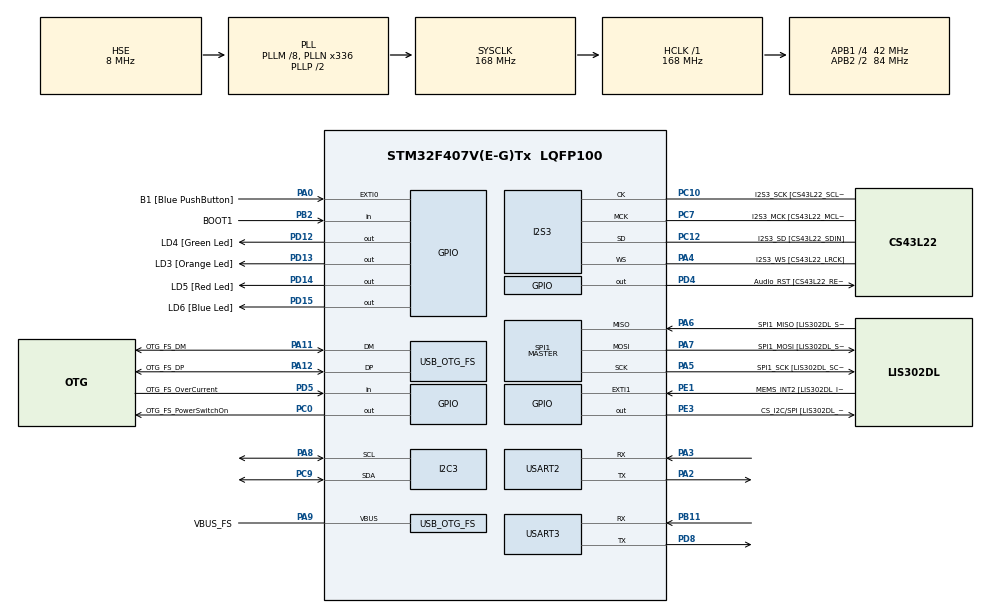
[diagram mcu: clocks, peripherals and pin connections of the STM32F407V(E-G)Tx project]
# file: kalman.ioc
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I2S3.AudioFreq-Half_Duplex_Master=I2S_AUDIOFREQ_96K
I2S3.ErrorAudioFreq=-2.34 %
I2S3.ErrorAudioFreq-Half_Duplex_Master=0.8 %
I2S3.FullDuplexMode=I2S_FULLDUPLEXMODE_DISABLE
I2S3.Instance=SPI$Index
I2S3.RealAudioFreq=93.75 KHz
I2S3.RealAudioFreq-Half_Duplex_Master=96.774 KHz
I2S3.VirtualMode=I2S_MODE_MASTER
Mcu.Family=STM32F4
Mcu.Name=STM32F407V(E-G)Tx
Mcu.Package=LQFP100
NVIC.I2C3_ER_IRQn=true\:0\:0\:false\:false\:true\:true\:true\:true
NVIC.I2C3_EV_IRQn=true\:0\:0\:false\:false\:true\:true\:true\:true
NVIC.OTG_FS_IRQn=true\:0\:0\:false\:false\:true\:true\:true\:true
NVIC.PriorityGroup=NVIC_PRIORITYGROUP_0
PA0-WKUP.GPIO_Label=B1 [Blue PushButton]
PA0-WKUP.GPIO_ModeDefaultEXTI=GPIO_MODE_EVT_RISING
PA0-WKUP.GPIO_PuPd=GPIO_NOPULL
PA0-WKUP.Signal=GPXTI0
PA10.GPIO_Label=OTG_FS_ID
PA10.GPIO_Mode=GPIO_MODE_AF_PP
PA10.GPIO_PuPd=GPIO_NOPULL
PA10.GPIO_Speed=GPIO_SPEED_FREQ_LOW
PA10.Signal=USB_OTG_FS_ID
PA11.GPIO_Label=OTG_FS_DM
PA11.GPIO_Mode=GPIO_MODE_AF_PP
PA11.GPIO_PuPd=GPIO_NOPULL
PA11.GPIO_Speed=GPIO_SPEED_FREQ_LOW
PA11.Mode=Host_Only
PA11.Signal=USB_OTG_FS_DM
PA12.GPIO_Label=OTG_FS_DP
PA12.GPIO_Mode=GPIO_MODE_AF_PP
PA12.GPIO_PuPd=GPIO_NOPULL
PA12.GPIO_Speed=GPIO_SPEED_FREQ_LOW
PA12.Mode=Host_Only
PA12.Signal=USB_OTG_FS_DP
PA13.GPIO_Label=SWDIO
PA13.Mode=Serial_Wire
PA13.Signal=SYS_JTMS-SWDIO
PA14.GPIO_Label=SWCLK
PA14.Mode=Serial_Wire
PA14.Signal=SYS_JTCK-SWCLK
PA2.Mode=Asynchronous
PA2.Signal=USART2_TX
PA3.Mode=Asynchronous
PA3.Signal=USART2_RX
PA4.GPIO_Label=I2S3_WS [CS43L22_LRCK]
PA4.GPIO_Mode=GPIO_MODE_AF_PP
PA4.GPIO_PuPd=GPIO_NOPULL
PA4.GPIO_Speed=GPIO_SPEED_FREQ_LOW
PA4.Mode=Half_Duplex_Master
PA4.Signal=I2S3_WS
PA5.GPIO_Label=SPI1_SCK [LIS302DL_SCL/SPC]
PA5.GPIO_Mode=GPIO_MODE_AF_PP
PA5.GPIO_PuPd=GPIO_NOPULL
PA5.GPIO_Speed=GPIO_SPEED_FREQ_LOW
PA5.Mode=Full_Duplex_Master
PA5.Signal=SPI1_SCK
PA6.GPIO_Label=SPI1_MISO [LIS302DL_SDO]
PA6.GPIO_Mode=GPIO_MODE_AF_PP
PA6.GPIO_PuPd=GPIO_NOPULL
PA6.GPIO_Speed=GPIO_SPEED_FREQ_LOW
PA6.Mode=Full_Duplex_Master
PA6.Signal=SPI1_MISO
PA7.GPIO_Label=SPI1_MOSI [LIS302DL_SDA/SDI/SDO]
PA7.GPIO_Mode=GPIO_MODE_AF_PP
PA7.GPIO_PuPd=GPIO_NOPULL
PA7.GPIO_Speed=GPIO_SPEED_FREQ_LOW
PA7.Mode=Full_Duplex_Master
PA7.Signal=SPI1_MOSI
PA8.Mode=I2C
PA8.Signal=I2C3_SCL
PA9.GPIO_Label=VBUS_FS
PA9.GPIO_Mode=GPIO_MODE_INPUT
PA9.GPIO_PuPd=GPIO_NOPULL
PA9.Mode=Activate_VBUS
PA9.Signal=USB_OTG_FS_VBUS
PB10.GPIO_Label=CLK_IN [MP45DT02_CLK]
PB10.GPIO_Mode=GPIO_MODE_AF_PP
PB10.GPIO_PuPd=GPIO_NOPULL
PB10.GPIO_Speed=GPIO_SPEED_FREQ_LOW
PB10.Signal=I2S2_CK
PB11.Mode=Asynchronous
PB11.Signal=USART3_RX
PB2.GPIO_Label=BOOT1
PB2.GPIO_Mode=GPIO_MODE_INPUT
PB2.GPIO_PuPd=GPIO_NOPULL
PB2.Signal=GPIO_Input
PB3.GPIO_Label=SWO
PB3.Signal=SYS_JTDO-SWO
PB6.GPIO_Label=Audio_SCL [CS43L22_SCL]
PB6.GPIO_Mode=GPIO_MODE_AF_OD
PB6.GPIO_Pu=GPIO_PULLUP
PB6.GPIO_PuPd=GPIO_NOPULL
PB6.GPIO_Speed=GPIO_SPEED_FREQ_LOW
PB6.Signal=I2C1_SCL
PB9.GPIO_Label=Audio_SDA [CS43L22_SDA]
PB9.GPIO_Mode=GPIO_MODE_AF_OD
PB9.GPIO_Pu=GPIO_PULLUP
PB9.GPIO_PuPd=GPIO_NOPULL
PB9.GPIO_Speed=GPIO_SPEED_FREQ_LOW
PB9.Signal=I2C1_SDA
PC0.GPIO_Label=OTG_FS_PowerSwitchOn
PC0.GPIO_PuPd=GPIO_NOPULL
PC0.GPIO_Speed=GPIO_SPEED_FREQ_LOW
PC0.PinState=GPIO_PIN_SET
PC0.Signal=GPIO_Output
PC10.GPIO_Label=I2S3_SCK [CS43L22_SCLK]
PC10.GPIO_Mode=GPIO_MODE_AF_PP
PC10.GPIO_PuPd=GPIO_NOPULL
PC10.GPIO_Speed=GPIO_SPEED_FREQ_LOW
PC10.Mode=Half_Duplex_Master
PC10.Signal=I2S3_CK
PC12.GPIO_Label=I2S3_SD [CS43L22_SDIN]
PC12.GPIO_Mode=GPIO_MODE_AF_PP
PC12.GPIO_PuPd=GPIO_NOPULL
PC12.GPIO_Speed=GPIO_SPEED_FREQ_LOW
PC12.Mode=Half_Duplex_Master
PC12.Signal=I2S3_SD
PC14-OSC32_IN.GPIO_Label=PC14-OSC32_IN
PC14-OSC32_IN.Mode=LSE-External-Oscillator
PC14-OSC32_IN.Signal=RCC_OSC32_IN
PC15-OSC32_OUT.GPIO_Label=PC15-OSC32_OUT
PC15-OSC32_OUT.Mode=LSE-External-Oscillator
PC15-OSC32_OUT.Signal=RCC_OSC32_OUT
PC3.GPIO_Label=PDM_OUT [MP45DT02_DOUT]
PC3.GPIO_Mode=GPIO_MODE_AF_PP
PC3.GPIO_PuPd=GPIO_NOPULL
PC3.GPIO_Speed=GPIO_SPEED_FREQ_LOW
PC3.Signal=I2S2_SD
PC7.GPIO_Label=I2S3_MCK [CS43L22_MCLK]
PC7.GPIO_Mode=GPIO_MODE_AF_PP
PC7.GPIO_PuPd=GPIO_NOPULL
PC7.GPIO_Speed=GPIO_SPEED_FREQ_LOW
PC7.Mode=Master_Clock_Activated
PC7.Signal=I2S3_MCK
PC9.Mode=I2C
PC9.Signal=I2C3_SDA
PD12.GPIO_Label=LD4 [Green Led]
PD12.GPIO_PuPd=GPIO_NOPULL
PD12.GPIO_Speed=GPIO_SPEED_FREQ_LOW
PD12.Signal=GPIO_Output
PD13.GPIO_Label=LD3 [Orange Led]
PD13.GPIO_PuPd=GPIO_NOPULL
PD13.GPIO_Speed=GPIO_SPEED_FREQ_LOW
PD13.Signal=GPIO_Output
PD14.GPIO_Label=LD5 [Red Led]
PD14.GPIO_PuPd=GPIO_NOPULL
PD14.GPIO_Speed=GPIO_SPEED_FREQ_LOW
PD14.Signal=GPIO_Output
PD15.GPIO_Label=LD6 [Blue Led]
PD15.GPIO_PuPd=GPIO_NOPULL
PD15.GPIO_Speed=GPIO_SPEED_FREQ_LOW
PD15.Signal=GPIO_Output
PD4.GPIO_Label=Audio_RST [CS43L22_RESET]
PD4.GPIO_PuPd=GPIO_NOPULL
PD4.GPIO_Speed=GPIO_SPEED_FREQ_LOW
PD4.Signal=GPIO_Output
PD5.GPIO_Label=OTG_FS_OverCurrent
PD5.GPIO_Mode=GPIO_MODE_INPUT
PD5.GPIO_PuPd=GPIO_NOPULL
PD5.Signal=GPIO_Input
PD8.Mode=Asynchronous
PD8.Signal=USART3_TX
PE1.GPIO_Label=MEMS_INT2 [LIS302DL_INT2]
PE1.GPIO_ModeDefaultEXTI=GPIO_MODE_EVT_RISING
PE1.GPIO_PuPd=GPIO_NOPULL
PE1.Signal=GPXTI1
PE3.GPIO_Label=CS_I2C/SPI [LIS302DL_CS_I2C/SPI]
PE3.GPIO_PuPd=GPIO_NOPULL
PE3.GPIO_Speed=GPIO_SPEED_FREQ_LOW
PE3.Signal=GPIO_Output
PH0-OSC_IN.GPIO_Label=PH0-OSC_IN
PH0-OSC_IN.Mode=HSE-External-Oscillator
PH0-OSC_IN.Signal=RCC_OSC_IN
PH1-OSC_OUT.GPIO_Label=PH1-OSC_OUT
PH1-OSC_OUT.Mode=HSE-External-Oscillator
PH1-OSC_OUT.Signal=RCC_OSC_OUT
ProjectManager.HeapSize=0x200
ProjectManager.StackSize=0x400
ProjectManager.TargetToolchain=STM32CubeIDE
RCC.48MHZClocksFreq_Value=48000000
RCC.AHBFreq_Value=168000000
RCC.APB1CLKDivider=RCC_HCLK_DIV4
RCC.APB1Freq_Value=42000000
RCC.APB1TimFreq_Value=84000000
RCC.APB2CLKDivider=RCC_HCLK_DIV2
RCC.APB2Freq_Value=84000000
RCC.APB2TimFreq_Value=168000000
RCC.CortexFreq_Value=168000000
RCC.HCLKFreq_Value=168000000
RCC.HSE_VALUE=8000000
RCC.HSI_VALUE=16000000
RCC.PLLM=8
RCC.PLLN=336
RCC.PLLQ=7
RCC.SYSCLKFreq_VALUE=168000000
RCC.SYSCLKSource=RCC_SYSCLKSOURCE_PLLCLK
RCC.VCOOutputFreq_Value=336000000
SPI1.BaudRatePrescaler-Full_Duplex_Master=SPI_BAUDRATEPRESCALER_2
SPI1.CalculateBaudRate-Full_Duplex_Master=42.0 MBits/s
SPI1.Direction=SPI_DIRECTION_2LINES
SPI1.Mode=SPI_MODE_MASTER
SPI1.Mode-Full_Duplex_Master=SPI_MODE_MASTER
SPI1.VirtualType=VM_MASTER
USART2.VirtualMode=VM_ASYNC
USART3.VirtualMode=VM_ASYNC
USB_OTG_FS.VirtualMode=Host_Only
USB_OTG_FS.phy_itface=HCD_PHY_EMBEDDED
board=STM32F407G-DISC1

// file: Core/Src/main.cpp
/* USER CODE BEGIN Header */
/**
 ******************************************************************************
 * @file           : main.c
 * @brief          : Main program body
 ******************************************************************************
 * @attention
 *
 * Copyright (c) 2023 STMicroelectronics.
 * All rights reserved.
 *
 * This software is licensed under terms that can be found in the LICENSE file
 * in the root directory of this software component.
 * If no LICENSE file comes with this software, it is provided AS-IS.
 *
 ******************************************************************************
 */
/* USER CODE END Header */
#include "main.h"

/* USER CODE BEGIN Includes */
#include "GyverFilters.h"
#include "adxl345.h"
#include <stdio.h>
#include <stdarg.h>

/* USER CODE END Includes */

I2C_HandleTypeDef hi2c3;

I2S_HandleTypeDef hi2s3;

SPI_HandleTypeDef hspi1;

UART_HandleTypeDef huart2;
UART_HandleTypeDef huart3;

HCD_HandleTypeDef hhcd_USB_OTG_FS;

void SystemClock_Config(void);
static void MX_GPIO_Init(void);
static void MX_I2S3_Init(void);
static void MX_SPI1_Init(void);
static void MX_USB_OTG_FS_HCD_Init(void);
static void MX_I2C3_Init(void);
static void MX_USART3_UART_Init(void);
static void MX_USART2_UART_Init(void);

/* USER CODE BEGIN 0 */
void UARTPrint(const char *args, ...) //отладка идет в монетоприемник
{
	char StrBuff[1024];
	va_list ap;
	va_start(ap, args);
	char len = vsnprintf(StrBuff, sizeof(StrBuff), args, ap);
	va_end(ap);
	int timeout = sizeof(StrBuff) / 3;
	HAL_UART_Transmit(&huart2,(uint8_t*)StrBuff,len,timeout);
}
/* USER CODE END 0 */

int main(void)
{

	/* MCU Configuration--------------------------------------------------------*/

	/* Reset of all peripherals, Initializes the Flash interface and the Systick. */
	HAL_Init();

	/* Configure the system clock */
	SystemClock_Config();

	/* STM32-F407
	 * Подключен датчик ADXL345 по I2C3 PA8-SCL PC9-SDA
	 * Вывод данных в uart2 PA2-TX
	 */

	/* Initialize all configured peripherals */
	MX_GPIO_Init();
	MX_I2S3_Init();
	MX_SPI1_Init();
	MX_USB_OTG_FS_HCD_Init();
	MX_I2C3_Init();
	MX_USART3_UART_Init();
	MX_USART2_UART_Init();
	/* USER CODE BEGIN 2 */
	int16_t x=0;
	int16_t y=0;
	int16_t  z=0;
	int16_t x_filtred=0;
	int16_t y_filtred=0;
	int16_t z_filtred=0;
	char uart_output[70];

	uint16_t razbros_kalman = 40;
	float speed_kalman_prev, speed_kalman = 0.1;

	GKalman adxl_Filter_x(razbros_kalman, razbros_kalman, speed_kalman);//фильтр для оси x
	GKalman adxl_Filter_y(razbros_kalman, razbros_kalman, speed_kalman);//фильтр для оси y
	GKalman adxl_Filter_z(razbros_kalman, razbros_kalman, speed_kalman);//фильтр для оси z

	/* USER CODE END 2 */

	/* Infinite loop */
	while (1)
	{

		/* USER CODE BEGIN 3 */
		if(HAL_GetTick()%1000==0)
		{
		x=adxl_readx();//считываем значения акселерометра по x
		y=adxl_ready();//считываем значения акселерометра по y
		z=adxl_readz();//считываем значения акселерометра по z
		x_filtred=adxl_Filter_x.filtered(x);//фильтруем значения акселерометра по x
		y_filtred=adxl_Filter_y.filtered(y);//фильтруем значения акселерометра по y
		z_filtred=adxl_Filter_z.filtered(z);//фильтруем  значения акселерометра по z
		sprintf(uart_output,"x: %d y: %d z: %d \nx_filtr: %d y_filtr: %d z_filtr: %d\n\n",x,y,z,x_filtred,y_filtred,z_filtred);
		UARTPrint(uart_output);
		}

	}
	/* USER CODE END 3 */
}

void SystemClock_Config(void)
{
	RCC_OscInitTypeDef RCC_OscInitStruct = {0};
	RCC_ClkInitTypeDef RCC_ClkInitStruct = {0};

	/** Configure the main internal regulator output voltage
	 */
	__HAL_RCC_PWR_CLK_ENABLE();
	__HAL_PWR_VOLTAGESCALING_CONFIG(PWR_REGULATOR_VOLTAGE_SCALE1);

	/** Initializes the RCC Oscillators according to the specified parameters
	 * in the RCC_OscInitTypeDef structure.
	 */
	RCC_OscInitStruct.OscillatorType = RCC_OSCILLATORTYPE_HSE;
	RCC_OscInitStruct.HSEState = RCC_HSE_ON;
	RCC_OscInitStruct.PLL.PLLState = RCC_PLL_ON;
	RCC_OscInitStruct.PLL.PLLSource = RCC_PLLSOURCE_HSE;
	RCC_OscInitStruct.PLL.PLLM = 8;
	RCC_OscInitStruct.PLL.PLLN = 336;
	RCC_OscInitStruct.PLL.PLLP = RCC_PLLP_DIV2;
	RCC_OscInitStruct.PLL.PLLQ = 7;
	if (HAL_RCC_OscConfig(&RCC_OscInitStruct) != HAL_OK)
	{
		Error_Handler();
	}

	/** Initializes the CPU, AHB and APB buses clocks
	 */
	RCC_ClkInitStruct.ClockType = RCC_CLOCKTYPE_HCLK|RCC_CLOCKTYPE_SYSCLK
			|RCC_CLOCKTYPE_PCLK1|RCC_CLOCKTYPE_PCLK2;
	RCC_ClkInitStruct.SYSCLKSource = RCC_SYSCLKSOURCE_PLLCLK;
	RCC_ClkInitStruct.AHBCLKDivider = RCC_SYSCLK_DIV1;
	RCC_ClkInitStruct.APB1CLKDivider = RCC_HCLK_DIV4;
	RCC_ClkInitStruct.APB2CLKDivider = RCC_HCLK_DIV2;

	if (HAL_RCC_ClockConfig(&RCC_ClkInitStruct, FLASH_LATENCY_5) != HAL_OK)
	{
		Error_Handler();
	}
}

static void MX_I2C3_Init(void)
{

	hi2c3.Instance = I2C3;
	hi2c3.Init.ClockSpeed = 100000;
	hi2c3.Init.DutyCycle = I2C_DUTYCYCLE_2;
	hi2c3.Init.OwnAddress1 = 0;
	hi2c3.Init.AddressingMode = I2C_ADDRESSINGMODE_7BIT;
	hi2c3.Init.DualAddressMode = I2C_DUALADDRESS_DISABLE;
	hi2c3.Init.OwnAddress2 = 0;
	hi2c3.Init.GeneralCallMode = I2C_GENERALCALL_DISABLE;
	hi2c3.Init.NoStretchMode = I2C_NOSTRETCH_DISABLE;
	if (HAL_I2C_Init(&hi2c3) != HAL_OK)
	{
		Error_Handler();
	}

}

static void MX_I2S3_Init(void)
{

	hi2s3.Instance = SPI3;
	hi2s3.Init.Mode = I2S_MODE_MASTER_TX;
	hi2s3.Init.Standard = I2S_STANDARD_PHILIPS;
	hi2s3.Init.DataFormat = I2S_DATAFORMAT_16B;
	hi2s3.Init.MCLKOutput = I2S_MCLKOUTPUT_ENABLE;
	hi2s3.Init.AudioFreq = I2S_AUDIOFREQ_96K;
	hi2s3.Init.CPOL = I2S_CPOL_LOW;
	hi2s3.Init.ClockSource = I2S_CLOCK_PLL;
	hi2s3.Init.FullDuplexMode = I2S_FULLDUPLEXMODE_DISABLE;
	if (HAL_I2S_Init(&hi2s3) != HAL_OK)
	{
		Error_Handler();
	}

}

static void MX_SPI1_Init(void)
{

	/* SPI1 parameter configuration*/
	hspi1.Instance = SPI1;
	hspi1.Init.Mode = SPI_MODE_MASTER;
	hspi1.Init.Direction = SPI_DIRECTION_2LINES;
	hspi1.Init.DataSize = SPI_DATASIZE_8BIT;
	hspi1.Init.CLKPolarity = SPI_POLARITY_LOW;
	hspi1.Init.CLKPhase = SPI_PHASE_1EDGE;
	hspi1.Init.NSS = SPI_NSS_SOFT;
	hspi1.Init.BaudRatePrescaler = SPI_BAUDRATEPRESCALER_2;
	hspi1.Init.FirstBit = SPI_FIRSTBIT_MSB;
	hspi1.Init.TIMode = SPI_TIMODE_DISABLE;
	hspi1.Init.CRCCalculation = SPI_CRCCALCULATION_DISABLE;
	hspi1.Init.CRCPolynomial = 10;
	if (HAL_SPI_Init(&hspi1) != HAL_OK)
	{
		Error_Handler();
	}

}

static void MX_USART2_UART_Init(void)
{

	huart2.Instance = USART2;
	huart2.Init.BaudRate = 115200;
	huart2.Init.WordLength = UART_WORDLENGTH_8B;
	huart2.Init.StopBits = UART_STOPBITS_1;
	huart2.Init.Parity = UART_PARITY_NONE;
	huart2.Init.Mode = UART_MODE_TX_RX;
	huart2.Init.HwFlowCtl = UART_HWCONTROL_NONE;
	huart2.Init.OverSampling = UART_OVERSAMPLING_16;
	if (HAL_UART_Init(&huart2) != HAL_OK)
	{
		Error_Handler();
	}

}

static void MX_USART3_UART_Init(void)
{

	huart3.Instance = USART3;
	huart3.Init.BaudRate = 115200;
	huart3.Init.WordLength = UART_WORDLENGTH_8B;
	huart3.Init.StopBits = UART_STOPBITS_1;
	huart3.Init.Parity = UART_PARITY_NONE;
	huart3.Init.Mode = UART_MODE_TX_RX;
	huart3.Init.HwFlowCtl = UART_HWCONTROL_NONE;
	huart3.Init.OverSampling = UART_OVERSAMPLING_16;
	if (HAL_UART_Init(&huart3) != HAL_OK)
	{
		Error_Handler();
	}

}

static void MX_USB_OTG_FS_HCD_Init(void)
{

	hhcd_USB_OTG_FS.Instance = USB_OTG_FS;
	hhcd_USB_OTG_FS.Init.Host_channels = 8;
	hhcd_USB_OTG_FS.Init.speed = HCD_SPEED_FULL;
	hhcd_USB_OTG_FS.Init.dma_enable = DISABLE;
	hhcd_USB_OTG_FS.Init.phy_itface = HCD_PHY_EMBEDDED;
	hhcd_USB_OTG_FS.Init.Sof_enable = DISABLE;
	if (HAL_HCD_Init(&hhcd_USB_OTG_FS) != HAL_OK)
	{
		Error_Handler();
	}

}

static void MX_GPIO_Init(void)
{
	GPIO_InitTypeDef GPIO_InitStruct = {0};

	/* GPIO Ports Clock Enable */
	__HAL_RCC_GPIOE_CLK_ENABLE();
	__HAL_RCC_GPIOC_CLK_ENABLE();
	__HAL_RCC_GPIOH_CLK_ENABLE();
	__HAL_RCC_GPIOA_CLK_ENABLE();
	__HAL_RCC_GPIOB_CLK_ENABLE();
	__HAL_RCC_GPIOD_CLK_ENABLE();

	/*Configure GPIO pin Output Level */
	HAL_GPIO_WritePin(CS_I2C_SPI_GPIO_Port, CS_I2C_SPI_Pin, GPIO_PIN_RESET);

	/*Configure GPIO pin Output Level */
	HAL_GPIO_WritePin(OTG_FS_PowerSwitchOn_GPIO_Port, OTG_FS_PowerSwitchOn_Pin, GPIO_PIN_SET);

	/*Configure GPIO pin Output Level */
	HAL_GPIO_WritePin(GPIOD, LD4_Pin|LD3_Pin|LD5_Pin|LD6_Pin
			|Audio_RST_Pin, GPIO_PIN_RESET);

	/*Configure GPIO pin : CS_I2C_SPI_Pin */
	GPIO_InitStruct.Pin = CS_I2C_SPI_Pin;
	GPIO_InitStruct.Mode = GPIO_MODE_OUTPUT_PP;
	GPIO_InitStruct.Pull = GPIO_NOPULL;
	GPIO_InitStruct.Speed = GPIO_SPEED_FREQ_LOW;
	HAL_GPIO_Init(CS_I2C_SPI_GPIO_Port, &GPIO_InitStruct);

	/*Configure GPIO pin : OTG_FS_PowerSwitchOn_Pin */
	GPIO_InitStruct.Pin = OTG_FS_PowerSwitchOn_Pin;
	GPIO_InitStruct.Mode = GPIO_MODE_OUTPUT_PP;
	GPIO_InitStruct.Pull = GPIO_NOPULL;
	GPIO_InitStruct.Speed = GPIO_SPEED_FREQ_LOW;
	HAL_GPIO_Init(OTG_FS_PowerSwitchOn_GPIO_Port, &GPIO_InitStruct);

	/*Configure GPIO pin : PDM_OUT_Pin */
	GPIO_InitStruct.Pin = PDM_OUT_Pin;
	GPIO_InitStruct.Mode = GPIO_MODE_AF_PP;
	GPIO_InitStruct.Pull = GPIO_NOPULL;
	GPIO_InitStruct.Speed = GPIO_SPEED_FREQ_LOW;
	GPIO_InitStruct.Alternate = GPIO_AF5_SPI2;
	HAL_GPIO_Init(PDM_OUT_GPIO_Port, &GPIO_InitStruct);

	/*Configure GPIO pin : B1_Pin */
	GPIO_InitStruct.Pin = B1_Pin;
	GPIO_InitStruct.Mode = GPIO_MODE_EVT_RISING;
	GPIO_InitStruct.Pull = GPIO_NOPULL;
	HAL_GPIO_Init(B1_GPIO_Port, &GPIO_InitStruct);

	/*Configure GPIO pin : BOOT1_Pin */
	GPIO_InitStruct.Pin = BOOT1_Pin;
	GPIO_InitStruct.Mode = GPIO_MODE_INPUT;
	GPIO_InitStruct.Pull = GPIO_NOPULL;
	HAL_GPIO_Init(BOOT1_GPIO_Port, &GPIO_InitStruct);

	/*Configure GPIO pin : CLK_IN_Pin */
	GPIO_InitStruct.Pin = CLK_IN_Pin;
	GPIO_InitStruct.Mode = GPIO_MODE_AF_PP;
	GPIO_InitStruct.Pull = GPIO_NOPULL;
	GPIO_InitStruct.Speed = GPIO_SPEED_FREQ_LOW;
	GPIO_InitStruct.Alternate = GPIO_AF5_SPI2;
	HAL_GPIO_Init(CLK_IN_GPIO_Port, &GPIO_InitStruct);

	/*Configure GPIO pins : LD4_Pin LD3_Pin LD5_Pin LD6_Pin
                           Audio_RST_Pin */
	GPIO_InitStruct.Pin = LD4_Pin|LD3_Pin|LD5_Pin|LD6_Pin
			|Audio_RST_Pin;
	GPIO_InitStruct.Mode = GPIO_MODE_OUTPUT_PP;
	GPIO_InitStruct.Pull = GPIO_NOPULL;
	GPIO_InitStruct.Speed = GPIO_SPEED_FREQ_LOW;
	HAL_GPIO_Init(GPIOD, &GPIO_InitStruct);

	/*Configure GPIO pin : OTG_FS_OverCurrent_Pin */
	GPIO_InitStruct.Pin = OTG_FS_OverCurrent_Pin;
	GPIO_InitStruct.Mode = GPIO_MODE_INPUT;
	GPIO_InitStruct.Pull = GPIO_NOPULL;
	HAL_GPIO_Init(OTG_FS_OverCurrent_GPIO_Port, &GPIO_InitStruct);

	/*Configure GPIO pins : Audio_SCL_Pin Audio_SDA_Pin */
	GPIO_InitStruct.Pin = Audio_SCL_Pin|Audio_SDA_Pin;
	GPIO_InitStruct.Mode = GPIO_MODE_AF_OD;
	GPIO_InitStruct.Pull = GPIO_PULLUP;
	GPIO_InitStruct.Speed = GPIO_SPEED_FREQ_LOW;
	GPIO_InitStruct.Alternate = GPIO_AF4_I2C1;
	HAL_GPIO_Init(GPIOB, &GPIO_InitStruct);

	/*Configure GPIO pin : MEMS_INT2_Pin */
	GPIO_InitStruct.Pin = MEMS_INT2_Pin;
	GPIO_InitStruct.Mode = GPIO_MODE_EVT_RISING;
	GPIO_InitStruct.Pull = GPIO_NOPULL;
	HAL_GPIO_Init(MEMS_INT2_GPIO_Port, &GPIO_InitStruct);

}

void Error_Handler(void)
{
	__disable_irq();
	while (1)
	{
	}
}
